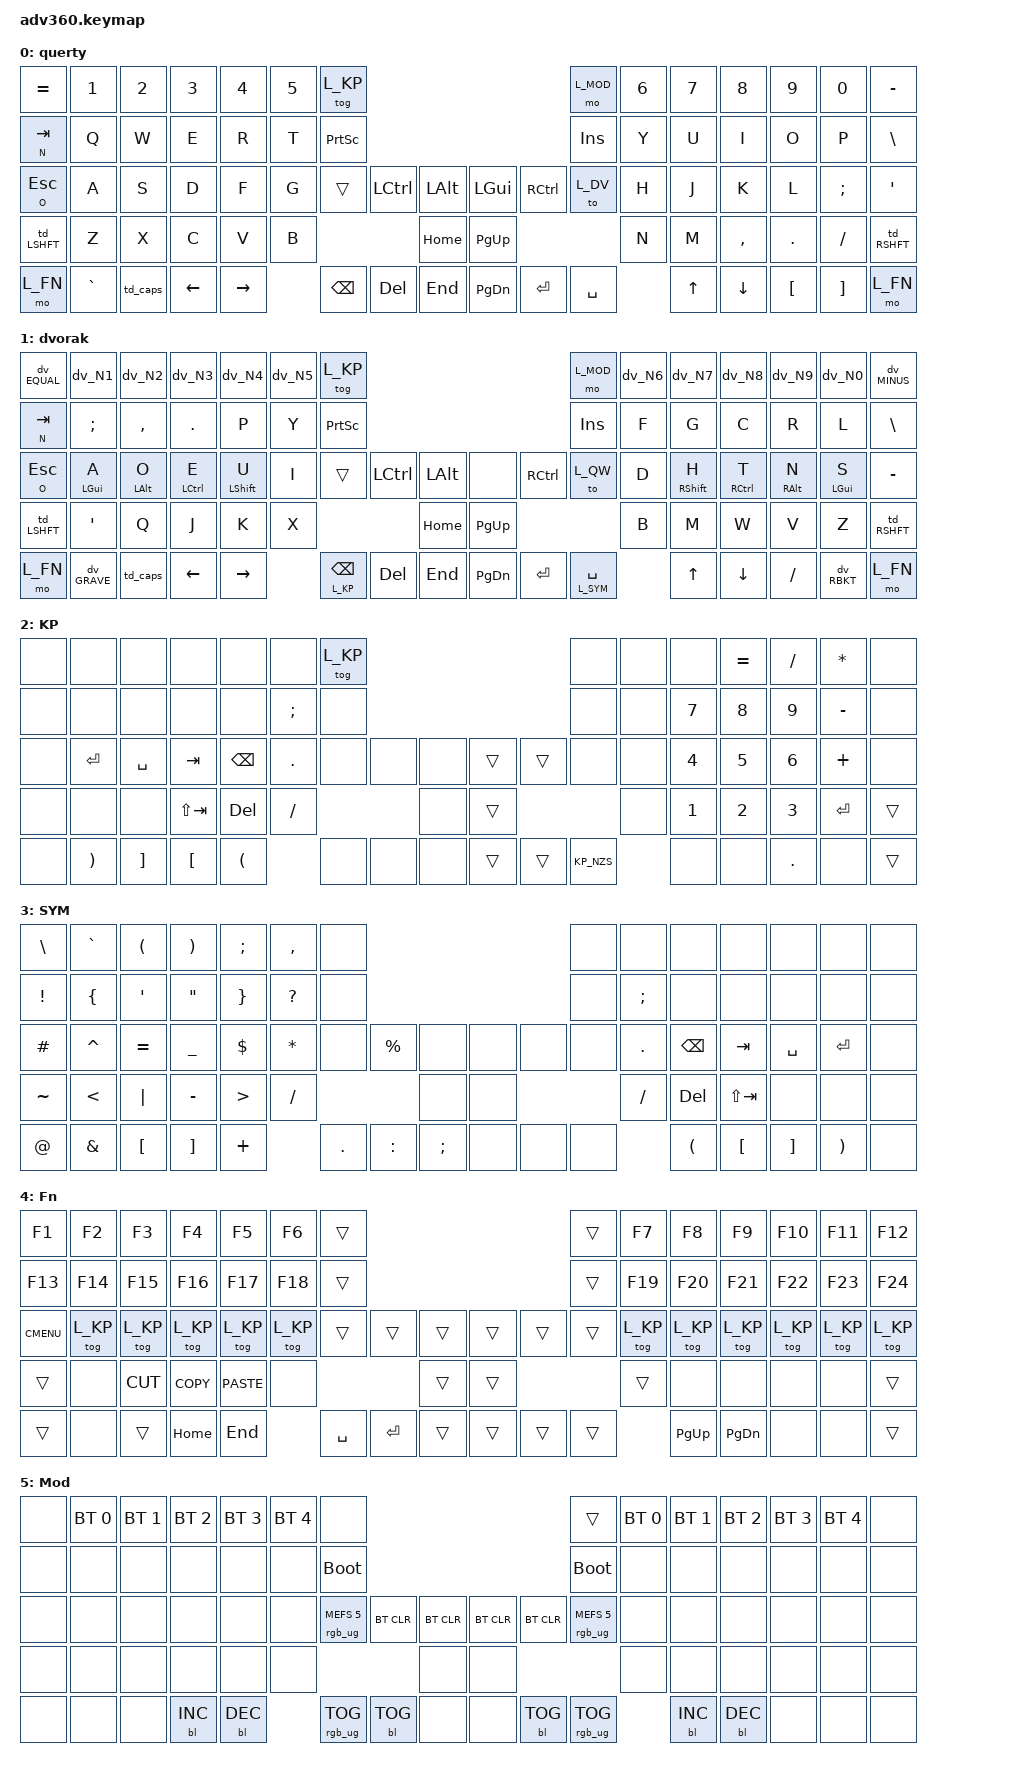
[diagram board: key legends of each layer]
#include <behaviors.dtsi>
#include <dt-bindings/zmk/keys.h>
#include <dt-bindings/zmk/bt.h>
#include <dt-bindings/zmk/rgb.h>
#include <dt-bindings/zmk/stp.h>
#include <dt-bindings/zmk/backlight.h>
#include <dt-bindings/zmk/pointing.h>

/* key-positions
 *
 * ╭──────────────────────┬─────────────────────╮
 * |  0  1  2  3  4  5  6 |  7  8  9 10 11 12 13|
 * | 14 15 16 17 18 19 20 | 21 22 23 24 25 26 27|
 * | 28 29 30 31 32 33 34 | 39 40 41 42 43 44 45|
 * | 46 47 48 49 50 51 ╭──┴──╮ 54 55 56 57 58 59|
 * | 60 61 62 63 64╭───╯     ╰───╮71 72 73 74 75|
 * ╰───────────────┼──────┬──────┼──────────────╯
 *             ╭───╯35 36 | 37 38╰───╮
 *             | 65 66 52 | 53 69 70 |
 *             ╰──────╮67 | 68╭──────╯
 *                    ╰───┴───╯
 */

#define LHS  0  1  2  3  4  5 \
            14 15 16 17 18 19 \
	    28 29 30 31 32 33 \
	    46 47 48 49 50 51 \
	    60 61 62 63 64

#define RHS  8  9 10 11 12 13 \
            22 23 24 25 26 27 \
	    40 41 42 43 44 45 \
	    54 55 56 57 58 59 \
	    71 72 73 74 75

#define THUMBS 35 36 65 66 52 67 \
               37 38 70 69 53 68

#define ______ &trans
#define xxxxxx &none

#define L_QW 0
#define L_DV 1
#define L_KP 2
#define L_SYM 3
#define L_FN 4
#define L_MOD 5

&caps_word {
    continue-list = <UNDERSCORE MINUS BACKSPACE LSHFT RSHFT>;
    /delete-property/ ignore-modifiers;
};

&lt {
  quick-tap-ms = <200>;
};

&sl {
    release-after-ms = <1000>;
};

&sk {
    quick-release;
};

/ {

    behaviors {
      #include "macros.dtsi"
      #include "version.dtsi"

      // For a nice introduction, see: https://precondition.github.io/home-row-mods
      hml: homerow_mods_left {
          compatible = "zmk,behavior-hold-tap";
          label = "HOMEROW_MODS_LEFT";
          flavor = "balanced";
          tapping-term-ms = <180>; // was 200
          quick_tap_ms = <175>;
	  require-prior-idle-ms = <150>; // was 120
          #binding-cells = <2>;
          bindings = <&kp>, <&kp>;
	  hold-trigger-key-positions = < RHS THUMBS >;
	  hold-trigger-on-release;
      };
      hmr: homerow_mods_right {
          compatible = "zmk,behavior-hold-tap";
          label = "HOMEROW_MODS_RIGHT";
          flavor = "balanced";
          tapping-term-ms = <180>; // was 200
          quick_tap_ms = <175>;
	  require-prior-idle-ms = <150>; // was 120
          #binding-cells = <2>;
          bindings = <&kp>, <&kp>;
	  hold-trigger-key-positions = < LHS THUMBS >;
	  hold-trigger-on-release;
      };

      KP_NZS: mod_morph_KP_N0_space {
          compatible = "zmk,behavior-mod-morph";
          label = "KP_NZS";
          bindings = <&kp N0>, <&kp SPACE>;
          #binding-cells = <0>;
          mods = <(MOD_LSFT|MOD_RSFT)>;
          keep-mods = <(MOD_LSFT|MOD_RSFT)>;
      };

      td_caps: tap_dance_caps {
          compatible = "zmk,behavior-tap-dance";
          #binding-cells = <0>;
          tapping-term-ms = <200>;
          bindings = <&caps_word>, <&kp CAPS>;
      };

      td_LSHFT: tap_dance_lshft {
          compatible = "zmk,behavior-tap-dance";
          #binding-cells = <0>;
          tapping-term-ms = <150>;
          bindings = <&kp LSHFT>, <&caps_word>;
      };

      td_RSHFT: tap_dance_rshft {
          compatible = "zmk,behavior-tap-dance";
          #binding-cells = <0>;
          tapping-term-ms = <150>;
          bindings = <&kp RSHFT>, <&caps_word>;
      };

      ht_pre: hold_tap_prefix {
          compatible = "zmk,behavior-hold-tap";
          #binding-cells = <2>;
          flavor = "tap-unless-interrupted";
          tapping-term-ms = <2000>;
          bindings = <&pre>, <&kp>;
      };

      spund: space_underscore_morph {
          compatible = "zmk,behavior-mod-morph";
          label = "SPUND";
          #binding-cells = <0>;
          bindings = <&kp SPACE>, <&kp UNDERSCORE>;
          mods = <(MOD_LSFT|MOD_RSFT)>;
      };

      /* Morphs for Programmer Dvorak */

#define MM_PD(NAME, KEY, MOD_KEY, MODS) \
  dv_##NAME: dv_##NAME { \
    compatible = "zmk,behavior-mod-morph"; \
    #binding-cells = <0>; \
    bindings = <&kp KEY>, <&kp MOD_KEY>; \
    mods = <MODS>; \
  }

      MM_PD(EQUAL, HASH,  GRAVE, (MOD_LSFT|MOD_RSFT));  /* = + -> # ` */
      MM_PD(N1,    AMPS,  PRCNT, (MOD_LSFT|MOD_RSFT));  /* 1 ! -> & % */
      MM_PD(N2,    LBKT,  N7,    (MOD_LSFT|MOD_RSFT));  /* 2 @ -> [ 7 */
      MM_PD(N3,    LBRC,  N5,    (MOD_LSFT|MOD_RSFT));  /* 3 # -> { 5 */
      MM_PD(N4,    RBRC,  N3,    (MOD_LSFT|MOD_RSFT));  /* 4 $ -> } 3 */
      MM_PD(N5,    LPAR,  N1,    (MOD_LSFT|MOD_RSFT));  /* 5 % -> ( 1 */
      MM_PD(N6,    EQUAL, N9,    (MOD_LSFT|MOD_RSFT));  /* 6 ^ -> = 9 */
      MM_PD(N7,    ASTRK, N0,    (MOD_LSFT|MOD_RSFT));  /* 7 & -> * 0 */
      MM_PD(N8,    RPAR,  N2,    (MOD_LSFT|MOD_RSFT));  /* 8 * -> ) 2 */
      MM_PD(N9,    PLUS,  N4,    (MOD_LSFT|MOD_RSFT));  /* 9 ( -> + 4 */
      MM_PD(N0,    RBKT,  N6,    (MOD_LSFT|MOD_RSFT));  /* 0 ) -> ] 6 */
      MM_PD(MINUS, EXCL,  N8,    (MOD_LSFT|MOD_RSFT));  /* - _ -> ! 8 */
      MM_PD(GRAVE, DLLR,  TILDE, (MOD_LSFT|MOD_RSFT));  /* ` ~ -> $ ~ */
      MM_PD(RBKT,  AT,    CARET, (MOD_LSFT|MOD_RSFT));  /* ] } -> @ ^ */

    };

    combos {
      compatible = "zmk,combos";
      combo_ctrl_backslash_left_hand {
          timeout-ms = <25>;
	  require-prior-idle-ms = <100>;
	  key-positions = <18 32>;
	  bindings = <&pre_ctrl BACKSLASH>;
      };
      combo_ctrl_backslash_right_hand {
          timeout-ms = <25>;
	  require-prior-idle-ms = <100>;
	  key-positions = <23 41>;
	  bindings = <&pre_ctrl BACKSLASH>;
      };

      combo_ctrl_pipe_left_hand {
          timeout-ms = <25>;
	  require-prior-idle-ms = <100>;
	  key-positions = <17 31>;
	  bindings = <&pre_ctrl PIPE>;
      };
      combo_ctrl_pipe_right_hand {
          timeout-ms = <25>;
	  require-prior-idle-ms = <100>;
	  key-positions = <24 42>;
	  bindings = <&pre_ctrl PIPE>;
      };
    };

    macros {
      comma_space: comma_space {
          compatible = "zmk,behavior-macro";
	  #binding-cells = <0>;
	  bindings = <&macro_tap &kp COMMA &kp SPACE>;
      };

      pre_ctrl: prefix_ctrl {
          compatible = "zmk,behavior-macro-one-param";
	  wait-ms = <0>;
	  tap-ms = <0>;
          #binding-cells = <1>;
          bindings
	    = <&macro_press &kp LCTRL>
	    , <&macro_param_1to1>
            , <&macro_tap &kp MACRO_PLACEHOLDER>
            , <&macro_release &kp LCTRL>
            ;
      };

      pre: prefix {
          compatible = "zmk,behavior-macro-one-param";
	  wait-ms = <0>;
	  tap-ms = <0>;
          #binding-cells = <1>;
          bindings
	    = <&macro_press &kp LALT>
	    , <&macro_param_1to1>
            , <&macro_tap &kp MACRO_PLACEHOLDER>
            , <&macro_release &kp LALT>
            ;
      };
    };

/************************************
      bindings = <
 ______         ______          ______           ______           ______            ______     ______                                                               ______           ______     ______           ______           ______           ______           ______
 ______         ______          ______           ______           ______            ______     ______                                                               ______           ______     ______           ______           ______           ______           ______
 ______         ______          ______           ______           ______            ______     ______         ______         ______       ______     ______         ______           ______     ______           ______           ______           ______           ______
 ______         ______          ______           ______           ______            ______                                   ______       ______                                     ______     ______           ______           ______           ______           ______
 ______         ______          ______           ______           ______                       ______         ______         ______       ______     ______         ______                      ______           ______           ______           ______           ______
      >;
************************************/

  keymap {
    compatible = "zmk,keymap";

    querty {
      display-name = "querty";
      bindings = <
 &kp EQUAL      &kp N1          &kp N2           &kp N3           &kp N4            &kp N5     &tog L_KP                                                            &mo L_MOD        &kp N6     &kp N7           &kp N8           &kp N9           &kp N0           &kp MINUS
 &ht_pre N TAB  &kp Q           &kp W            &kp E            &kp R             &kp T      &kp PSCRN                                                            &kp INS          &kp Y      &kp U            &kp I            &kp O            &kp P            &kp BSLH
 &ht_pre O ESC  &kp A           &kp S            &kp D            &kp F             &kp G      ______         &kp LCTRL      &kp LALT     &kp LGUI   &kp RCTRL      &to L_DV         &kp H      &kp J            &kp K            &kp L            &kp SEMI         &kp SQT
 &td_LSHFT      &kp Z           &kp X            &kp C            &kp V             &kp B                                    &kp HOME     &kp PG_UP                                  &kp N      &kp M            &kp COMMA        &kp DOT          &kp FSLH         &td_RSHFT
 &mo L_FN       &kp GRAVE       &td_caps         &kp LEFT         &kp RIGHT                    &kp BSPC       &kp DEL        &kp END      &kp PG_DN  &kp ENTER      &kp SPACE                   &kp UP           &kp DOWN         &kp LBKT         &kp RBKT         &mo L_FN
      >;
    };

    dvorak {
      display-name = "dvorak";
      bindings = <
 &dv_EQUAL      &dv_N1          &dv_N2           &dv_N3           &dv_N4            &dv_N5     &tog L_KP                                                            &mo L_MOD        &dv_N6     &dv_N7           &dv_N8           &dv_N9           &dv_N0           &dv_MINUS
 &ht_pre N TAB  &kp SEMI        &kp COMMA        &kp DOT          &kp P             &kp Y      &kp PSCRN                                                            &kp INS          &kp F      &kp G            &kp C            &kp R            &kp L            &kp BSLH
 &ht_pre O ESC  &hml LGUI A     &hml LALT O      &hml LCTRL E     &hml LSHFT U      &kp I      ______         &kp LCTRL      &kp LALT     xxxxxx     &kp RCTRL      &to L_QW         &kp D      &hmr RSHFT H     &hmr RCTRL T     &hmr RALT N      &hmr LGUI S      &kp MINUS
 &td_LSHFT      &kp SQT         &kp Q            &kp J            &kp K             &kp X                                    &kp HOME     &kp PG_UP                                  &kp B      &kp M            &kp W            &kp V            &kp Z            &td_RSHFT
 &mo L_FN       &dv_GRAVE       &td_caps         &kp LEFT         &kp RIGHT                    &lt L_KP BSPC  &kp DEL        &kp END      &kp PG_DN  &kp RET        &lt L_SYM SPACE             &kp UP           &kp DOWN         &kp FSLH         &dv_RBKT         &mo L_FN
      >;
    };

    keypad {
      display-name = "KP";
      bindings = <
 xxxxxx         xxxxxx          xxxxxx           xxxxxx           xxxxxx            xxxxxx     &tog L_KP                                                            xxxxxx           xxxxxx     xxxxxx           &kp EQUAL        &kp FSLH         &kp STAR         xxxxxx
 xxxxxx         xxxxxx          xxxxxx           xxxxxx           xxxxxx            &kp SEMI   xxxxxx                                                               xxxxxx           xxxxxx     &kp N7           &kp N8           &kp N9           &kp MINUS        xxxxxx
 xxxxxx         &kp ENTER       &kp SPACE        &kp TAB          &kp BSPC          &kp DOT    xxxxxx         xxxxxx         xxxxxx       ______     ______         xxxxxx           xxxxxx     &kp N4           &kp N5           &kp N6           &kp PLUS         xxxxxx
 xxxxxx         xxxxxx          xxxxxx           &kp LS(TAB)      &kp DEL           &kp FSLH                                 xxxxxx       ______                                     xxxxxx     &kp N1           &kp N2           &kp N3           &kp ENTER        ______
 xxxxxx         &kp RPAR        &kp RBKT         &kp LBKT         &kp LPAR                     xxxxxx         xxxxxx         xxxxxx       ______     ______         &KP_NZS                     xxxxxx           xxxxxx           &kp DOT          xxxxxx           ______
      >;
    };

    symbols {
      display-name = "SYM";
      bindings = <
 &kp BSLH       &kp GRAVE       &kp LPAR         &kp RPAR         &kp SEMI          &kp COMMA  xxxxxx                                                               xxxxxx           xxxxxx     xxxxxx           xxxxxx           xxxxxx           xxxxxx           xxxxxx
 &kp EXCL       &kp LBRC        &kp APOS         &kp DQT          &kp RBRC          &kp QMARK  xxxxxx                                                               xxxxxx           &kp SEMI   xxxxxx           xxxxxx           xxxxxx           xxxxxx           xxxxxx
 &kp POUND      &kp CARET       &kp EQUAL        &kp UNDERSCORE   &kp DOLLAR        &kp STAR   xxxxxx         &kp PERCENT    xxxxxx       xxxxxx     xxxxxx         xxxxxx           &kp DOT    &kp BSPC         &kp TAB          &kp SPACE        &kp ENTER        xxxxxx
 &kp TILDE      &kp LT          &kp PIPE         &kp MINUS        &kp GT            &kp FSLH                                 xxxxxx       xxxxxx                                     &kp FSLH   &kp DEL          &kp LS(TAB)      xxxxxx           xxxxxx           xxxxxx
 &kp AT         &kp AMPS        &kp LBKT         &kp RBKT         &kp PLUS                     &kp DOT        &kp COLON      &kp SEMI     xxxxxx     xxxxxx         xxxxxx                      &kp LPAR         &kp LBKT         &kp RBKT         &kp RPAR         xxxxxx
      >;
    };

    fn {
      display-name = "Fn";
      bindings = <
 &kp F1         &kp F2          &kp F3           &kp F4           &kp F5            &kp F6     ______                                                               ______           &kp F7     &kp F8           &kp F9           &kp F10          &kp F11          &kp F12
 &kp F13        &kp F14         &kp F15          &kp F16          &kp F17           &kp F18    ______                                                               ______           &kp F19    &kp F20          &kp F21          &kp F22          &kp F23          &kp F24
 &kp K_CMENU    &tog L_KP       &tog L_KP        &tog L_KP        &tog L_KP         &tog L_KP  ______         ______         ______       ______     ______         ______           &tog L_KP  &tog L_KP        &tog L_KP        &tog L_KP        &tog L_KP        &tog L_KP
 ______         xxxxxx          &kp K_CUT        &kp K_COPY       &kp K_PASTE       xxxxxx                                   ______       ______                                     ______     xxxxxx           xxxxxx           xxxxxx           xxxxxx           ______
 ______         xxxxxx          ______           &kp HOME         &kp END                      &kp SPACE      &kp ENTER      ______       ______     ______         ______                      &kp PG_UP        &kp PG_DN        xxxxxx           xxxxxx           ______
      >;
    };

    mod {
      display-name = "Mod";
      bindings = <
 xxxxxx  &bt BT_SEL 0  &bt BT_SEL 1  &bt BT_SEL 2  &bt BT_SEL 3  &bt BT_SEL 4  xxxxxx                                                                         ______                  &bt BT_SEL 0     &bt BT_SEL 1  &bt BT_SEL 2  &bt BT_SEL 3  &bt BT_SEL 4  xxxxxx
 xxxxxx  xxxxxx        xxxxxx        xxxxxx        xxxxxx        xxxxxx        &bootloader                                                                    &bootloader             xxxxxx           xxxxxx        xxxxxx        xxxxxx        xxxxxx        xxxxxx
 xxxxxx  xxxxxx        xxxxxx        xxxxxx        xxxxxx        xxxxxx        &rgb_ug RGB_MEFS_CMD 5  &bt BT_CLR  &bt BT_CLR        &bt BT_CLR  &bt BT_CLR   &rgb_ug RGB_MEFS_CMD 5  xxxxxx           xxxxxx        xxxxxx        xxxxxx        xxxxxx        xxxxxx
 xxxxxx  xxxxxx        xxxxxx        xxxxxx        xxxxxx        xxxxxx                                            xxxxxx            xxxxxx                                           xxxxxx           xxxxxx        xxxxxx        xxxxxx        xxxxxx        xxxxxx
 xxxxxx  xxxxxx        xxxxxx        &bl BL_INC    &bl BL_DEC                  &rgb_ug RGB_TOG         &bl BL_TOG  xxxxxx            xxxxxx      &bl BL_TOG   &rgb_ug RGB_TOG                          &bl BL_INC    &bl BL_DEC    xxxxxx        xxxxxx        xxxxxx
      >;
    };

    extra1 {
      display-name = "Red";
      status = "reserved";
    };

    extra2 {
      display-name = "Purple";
      status = "reserved";
    };

    extra3 {
      display-name = "Cyan";
      status = "reserved";
    };

    extra4 {
      display-name = "Yellow";
      status = "reserved";
    };
  };
};
